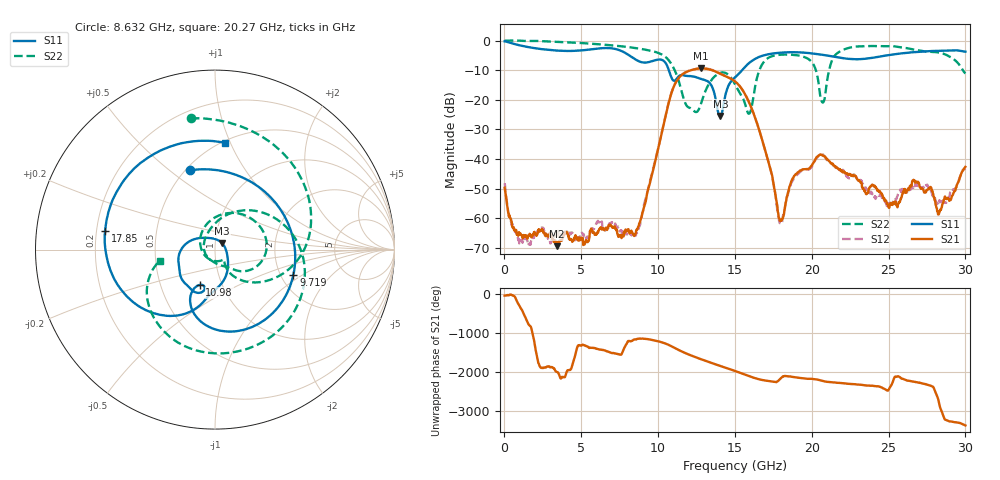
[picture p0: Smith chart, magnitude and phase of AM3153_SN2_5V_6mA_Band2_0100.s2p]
!Agilent Technologies,E8364B,MY43040894,A.07.50.67
!Agilent E8364B: A.07.50.67
!Date: Tuesday, May 12, 2020 09:50:31
!Correction: S11(Full 2 Port(1,2))
!S21(Full 2 Port(1,2))
!S12(Full 2 Port(1,2))
!S22(Full 2 Port(1,2))
!S2P File: Measurements: S11, S21, S12, S22:
# Hz S  dB  R 50
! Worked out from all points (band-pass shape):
!   1601 points, 10 MHz to 30 GHz, reference 50 ohm
!   highest |S21| = -9.39 dB at 12.81 GHz (marker M1); lowest = -69.5 dB at 3.44 GHz (marker M2)
!   |S21| within 3 dB of the highest: 11.38 GHz to 14.54 GHz (3.157 GHz wide, 24.4 % of centre)
!   lowest |S11| = -25.5 dB at 14.05 GHz (marker M3), VSWR 1.11, Z = 54 + j3.83 ohm
!   |S11| at or under -10 dB: 10.7 GHz to 15.47 GHz (4.77 GHz wide, 36.5 % of centre)
!   |S22| runs from -24.7 to 0.1 dB; largest |S21 - S12| = 0.0062
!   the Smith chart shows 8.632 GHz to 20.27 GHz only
!   S11 on the Smith chart (normalised r, x): 8.632 GHz: 0.53, +0.59; 9.719 GHz: 2.34, -0.84; 10.98 GHz: 0.79, -0.32; 17.85 GHz: 0.24, +0.08; 20.27 GHz: 0.52, +0.96
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1e7  -0.24 -6.8  -49.73 -51.8  -48.19 -68.2  -0.02 -1.7
1.115881e9  -1.74 -95.8  -65.76 -48.7  -67.64 57.4  -0.06 -33.4
3.440106e9  -3.38 124.7  -69.45 151.6  -63.94 76.2  -0.40 -101.4
5.014581e9  -3.31 36.6  -66.76 106.5  -65.19 28.7  -0.82 -146.5
6.870212e9  -2.55 -87.7  -62.22 -68.6  -61.94 -57.8  -1.55 159.5
7.769912e9  -3.89 -163.4  -64.82 21.6  -64.41 121.7  -2.00 130.6
8.632125e9  -6.68 107.3  -63.87 -79.9  -64.94 -75.9  -2.57 100.5
9.719262e9  -6.77 -17.9  -42.86 -117.9  -42.36 -117.5  -3.69 53.4
1.001916e10  -6.40 -49.2  -36.22 -144.5  -36.00 -144.2  -4.18 37.4
1.097509e10  -13.39 -113.2  -16.13 67.8  -16.05 66.8  -8.90 -27.2
1.281198e10  -13.00 -152.7  -9.39 114.7  -9.33 114.4  -20.99 157.9
1.404907e10  -25.50 41.7  -11.21 -54.5  -11.13 -55.5  -10.90 22.8
1.5005e10  -12.41 -94.0  -13.78 176.6  -13.78 175.5  -14.73 -40.8
1.594219e10  -7.47 -119.7  -21.13 39.3  -21.11 38.4  -24.64 -160.8
1.785405e10  -4.13 170.4  -59.83 -60.6  -60.05 -73.0  -4.82 -52.8
2.000958e10  -4.31 94.6  -42.18 -25.2  -42.57 -25.0  -7.28 -151.0
2.027199e10  -4.48 84.5  -39.79 -36.5  -40.02 -37.7  -10.05 -168.7
2.074059e10  -4.85 65.4  -38.92 -81.4  -38.49 -81.8  -20.88 -117.8
2.192144e10  -5.83 11.4  -44.11 -132.0  -43.95 -133.0  -3.41 -123.8
2.501416e10  -4.88 -141.8  -56.43 60.6  -54.88 61.5  -1.88 134.2
2.831306e10  -3.42 112.5  -57.59 23.7  -53.91 -151.8  -4.07 48.5
3e10  -3.74 75.4  -42.66 -139.8  -43.23 -129.7  -11.11 -10.9
